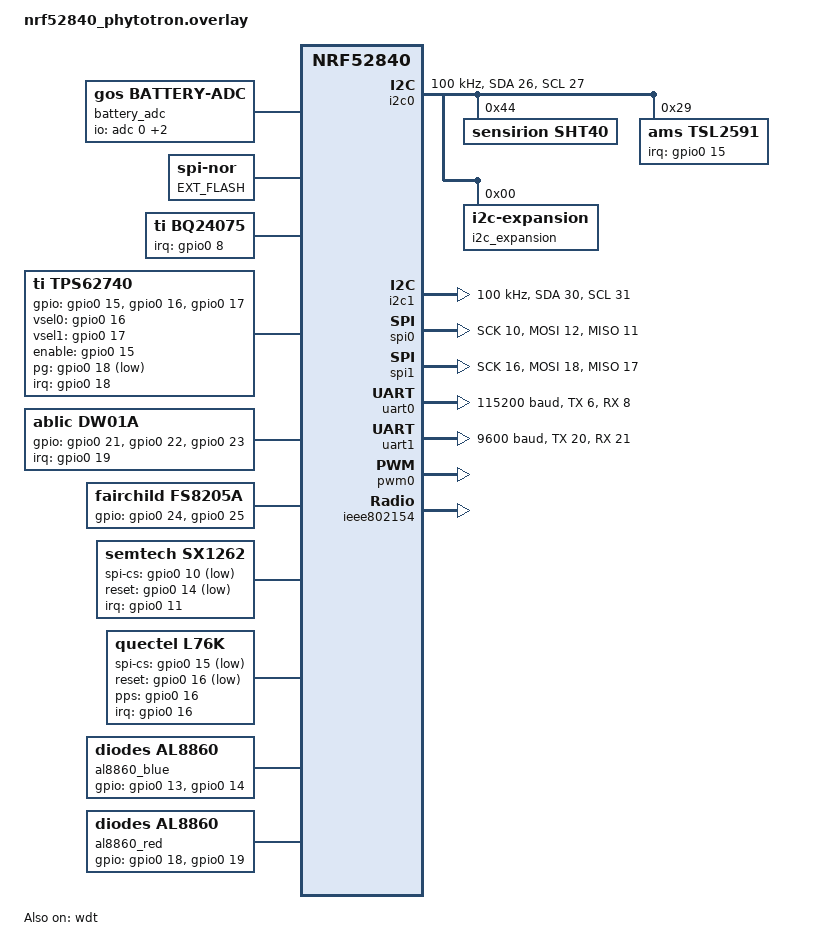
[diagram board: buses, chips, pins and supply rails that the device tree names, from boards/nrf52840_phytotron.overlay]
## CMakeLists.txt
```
cmake_minimum_required(VERSION 3.20.0)

# west build -b raytac_mdbt50q_db_40/nrf52840
# boards/raytac_mdbt50q_db_40_nrf52840.overlay is applied automatically for that board.
# Thread network key, kept out of git (see credentials.conf.example)
if(EXISTS ${CMAKE_CURRENT_LIST_DIR}/credentials.conf)
  list(APPEND EXTRA_CONF_FILE ${CMAKE_CURRENT_LIST_DIR}/credentials.conf)
endif()

find_package(Zephyr REQUIRED HINTS $ENV{ZEPHYR_BASE})
project(gos_sensor_node VERSION 3.2.0)

target_sources(app PRIVATE src/main.c src/uplink.c src/downlink.c src/packet.c)
target_include_directories(app PRIVATE include)
```

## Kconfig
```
menu "G.O.S. sensor node"

config GOS_NODE_INDEX
	int "Node index (phytotron position)"
	range 1 40
	default 1
	help
	  Sent in byte 1 of every research packet. Give each node its own value.

config GOS_UPLINK_PEER_ADDR
	string "IPv6 address the uplink is sent to"
	default "ff03::1"
	help
	  Default is the realm-local all-nodes multicast address, which reaches
	  every Thread device including the border router, so no gateway address
	  has to be known. Set a unicast address to send to one host only.

config GOS_UPLINK_PEER_PORT
	int "UDP port the uplink is sent to"
	default 5683

config GOS_UPLINK_KEY
	string "Uplink signing key (32 hex digits)"
	default ""
	help
	  128-bit HMAC-SHA256 key unique to this node. Set it in the git-ignored
	  credentials.conf; gateway/tools/provision_node.py generates it and
	  registers it with the gateway. With no valid key the node sends nothing.

config GOS_LED_HOLD_S
	int "Seconds to keep the last LED command without a new one"
	default 900
	help
	  The gateway sends an LED command in its reply to every packet (once a minute).
	  If no valid command arrives for this long (gateway or controller down, node out of
	  range), the node switches the LED board to the fallback levels below.

config GOS_LED_FALLBACK_BLUE
	int "Blue LED level (%) when no command has arrived for GOS_LED_HOLD_S"
	range 0 100
	default 0

config GOS_LED_FALLBACK_RED
	int "Red LED level (%) when no command has arrived for GOS_LED_HOLD_S"
	range 0 100
	default 0

config GOS_PAR_SENSOR
	bool "Quantum (PAR) sensor fitted on J6 (board rev 3.2)"
	default n
	help
	  Read a self-powered quantum sensor on J6 through AIN1 (P0.03) at every sample and
	  send it in the packet. Leave off on rev 3.1 boards and on nodes without a sensor:
	  the packet then reports PAR as not measured (0xFFFF) and the gateway estimates
	  daylight PAR from the lux reading as before.

config GOS_PAR_UMOL_PER_MV
	int "Quantum sensor calibration factor, umol m-2 s-1 per mV"
	depends on GOS_PAR_SENSOR
	range 1 10000
	default 100
	help
	  From the sensor's calibration certificate. Apogee SQ-500-SS nominal: 100
	  (0.01 mV per umol m-2 s-1, 0 to 40 mV). The SAADC reads J6 at gain 4, a 0.15 V
	  full scale, so sensors up to 150 mV fit.

config GOS_UPLINK_URI_PATH
	string "CoAP URI path for the uplink"
	default "telemetry"

endmenu

# Sleepy end device: ask the parent for queued messages every 30 s (the child timeout is
# 240 s). After each packet, uplink.c polls fast for about 2 s so the LED reply arrives
# within a second. A 1 s period would cost 20 to 40 uA; 30 s costs about 1 uA. Set here as a
# default (not in prj.conf) so the router build, which has no poll period, gets no warning.
config OPENTHREAD_POLL_PERIOD
	default 30000

source "Kconfig.zephyr"
```

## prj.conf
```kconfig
# G.O.S. sensor node rev 3.0
#
# The SHT4x, TSL2591 and voltage-divider drivers switch themselves on from the
# devicetree once CONFIG_SENSOR is set, so they are not listed here.

CONFIG_GPIO=y
CONFIG_I2C=y
CONFIG_ADC=y
CONFIG_PWM=y
CONFIG_SENSOR=y
CONFIG_WATCHDOG=y

CONFIG_LOG=y

# Thread: minimal sleepy end device, network values from the rev 2 design.
# The network key comes from credentials.conf (not in git).
CONFIG_NETWORKING=y
CONFIG_NET_L2_OPENTHREAD=y
CONFIG_OPENTHREAD_MTD=y
CONFIG_OPENTHREAD_MTD_SED=y
# Sleepy end device poll period: default set in Kconfig (30 s), see there.
CONFIG_OPENTHREAD_COAP=y
CONFIG_OPENTHREAD_CHANNEL=15
CONFIG_OPENTHREAD_PANID=4660
CONFIG_OPENTHREAD_NETWORK_NAME="GOS_PHYTOTRON"
CONFIG_OPENTHREAD_XPANID="de:ad:00:be:ef:00:ca:fe"
CONFIG_NVS=y

# Power down the TSL2591 between readings (275 uA awake, 2.3 uA asleep)
CONFIG_PM_DEVICE=y
CONFIG_TSL2591_FETCH_WAIT=y
```

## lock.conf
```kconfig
# Field build, locked: blocks all debugger access, so the node's signing key and the Thread
# network key cannot be read out of flash.
#   west build -b raytac_mdbt50q_db_40/nrf52840 -- -DEXTRA_CONF_FILE="low_power.conf;lock.conf"
# Afterwards the only way back in is a full chip erase (nrfjprog --recover), which also
# erases the message-counter epoch: re-provision the node (new key) before reflashing,
# or the gateway rejects its packets as replays. Use only for nodes going into service.
CONFIG_NRF_APPROTECT_LOCK=y
```

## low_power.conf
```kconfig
# Field build: no debug console or logging.
#   west build -b raytac_mdbt50q_db_40/nrf52840 -- -DEXTRA_CONF_FILE=low_power.conf
# The nRF52840 UART receiver keeps the high-frequency clock running while it
# is enabled, which costs far more than the rest of the sleeping board.
# Use the normal build on the bench, this one in the phytotron.
CONFIG_LOG=n
CONFIG_SERIAL=n
CONFIG_CONSOLE=n
CONFIG_UART_CONSOLE=n
```

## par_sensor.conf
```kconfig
# Rev 3.2 boards with a quantum (PAR) sensor on J6. Add to the build:
#   west build ... -- -DEXTRA_CONF_FILE="router.conf;par_sensor.conf"
# and set the calibration factor from the sensor certificate (umol m-2 s-1 per mV).
CONFIG_GOS_PAR_SENSOR=y
CONFIG_GOS_PAR_UMOL_PER_MV=100
```

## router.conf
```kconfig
# Router build: for a node on permanent USB power (a 5 V USB-C adapter; the BQ24074 runs the
# board from USB and keeps the cell charged). The radio stays on, so the node relays for its
# neighbours and the network becomes a real mesh: nodes beyond the border router's range join
# through it. On battery alone a router lasts only days.
#   west build -b raytac_mdbt50q_db_40/nrf52840 -- -DEXTRA_CONF_FILE=router.conf
# Put one router node every 10 to 20 m, or wherever a sleepy node cannot reach the dongle.
CONFIG_OPENTHREAD_MTD=n
CONFIG_OPENTHREAD_MTD_SED=n
CONFIG_OPENTHREAD_FTD=y
```

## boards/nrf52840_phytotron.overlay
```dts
/ {
	chosen {
		zephyr,console = &uart0;
		zephyr,shell-uart = &uart0;
		zephyr,bt-c2h-uart = &uart0;
		zephyr,bt-hci-uart = &uart0;
		zephyr,bt-mon-uart = &uart0;
	};

	aliases {
		led0 = &led_blue;
		led1 = &led_red;
		sw0 = &button_reset;
		sw1 = &button_dfu;
		i2c0 = &i2c0;
		i2c1 = &i2c1;
		spi0 = &spi0;
		spi1 = &spi1;
		uart0 = &uart0;
		uart1 = &uart1;
		pwm0 = &pwm0;
		pwm1 = &pwm1;
		adc0 = &adc;
		ieee802154 = &ieee802154;
	};

	/* Battery ADC Channels */
	adc: adc {
		compatible = "nordic,nrf-saadc";
		status = "okay";
		#address-cells = <1>;
		#size-cells = <0>;

		channel@0 {
			reg = <0>;
			zephyr,gain = "ADC_GAIN_1_6";
			zephyr,reference = "ADC_REF_INTERNAL";
			zephyr,acquisition-time = <ADC_ACQ_TIME(ADC_ACQ_TIME_MICROSECONDS, 3)>;
			zephyr,channel-id = <0>;
			zephyr,input-positive = <28>; /* P0.28 = AIN4 = VBATT_SENSE */
		};

		channel@1 {
			reg = <1>;
			zephyr,gain = "ADC_GAIN_1_6";
			zephyr,reference = "ADC_REF_INTERNAL";
			zephyr,acquisition-time = <ADC_ACQ_TIME(ADC_ACQ_TIME_MICROSECONDS, 3)>;
			zephyr,channel-id = <1>;
			zephyr,input-positive = <30>; /* P0.30 = AIN6 = VBUS_SENSE */
		};

		channel@2 {
			reg = <2>;
			zephyr,gain = "ADC_GAIN_1_6";
			zephyr,reference = "ADC_REF_INTERNAL";
			zephyr,acquisition-time = <ADC_ACQ_TIME(ADC_ACQ_TIME_MICROSECONDS, 3)>;
			zephyr,channel-id = <2>;
			zephyr,input-positive = <31>; /* P0.31 = AIN7 = VSYS_SENSE */
		};
	};

	/* Battery ADC Channels */
	battery_adc: battery_adc {
		compatible = "gos,battery-adc";
		io-channels = <&adc 0>, <&adc 1>, <&adc 2>;
		io-channel-names = "vbatt", "vbus", "vsys";
		status = "okay";
	};

	/* External SPI Flash for LittleFS */
	ext_flash: ext_flash {
		compatible = "jedec,spi-nor";
		reg = <0>;
		spi-max-frequency = <8000000>;
		label = "EXT_FLASH";
		jedec-id = [ef 40 15]; /* W25Q16JV */
		size = <2097152>; /* 2MB */
		has-dpd;
		t-enter-dpd = <10000>;
		t-exit-dpd = <35000>;
		status = "okay";
	};

	/* BQ24075 Charger */
	bq24075: bq24075@6b {
		compatible = "ti,bq24075";
		reg = <0x6b>;
		status = "okay";
		interrupt-parent = <&gpio0>;
		interrupts = <8 IRQ_TYPE_LEVEL_LOW>; /* PGOOD pin */
		ti,charge-current-ma = <742>;
		ti,input-current-limit-ma = <500>;
		ti,precharge-current-ma = <74>;
		ti,termination-current-ma = <74>;
		ti,voltage-regulation-mv = <4200>;
		ti,precharge-voltage-mv = <3000>;
		ti,recharge-threshold-mv = <100>;
		ti,watchdog-timeout-s = <7200>;
		ti,enable-charger;
		ti,enable-watchdog;
	};

	/* TPS62740 Buck Converter */
	tps62740: tps62740@0 {
		compatible = "ti,tps62740";
		reg = <0>;
		status = "okay";
		gpios = <&gpio0 15 GPIO_ACTIVE_HIGH>, /* EN */
		        <&gpio0 16 GPIO_ACTIVE_HIGH>, /* VSEL0 */
		        <&gpio0 17 GPIO_ACTIVE_HIGH>; /* VSEL1 */
		interrupt-parent = <&gpio0>;
		interrupts = <18 IRQ_TYPE_LEVEL_LOW>; /* PG pin */
		ti,vsel0-gpio = <&gpio0 16 GPIO_ACTIVE_HIGH>;
		ti,vsel1-gpio = <&gpio0 17 GPIO_ACTIVE_HIGH>;
		ti,enable-gpio = <&gpio0 15 GPIO_ACTIVE_HIGH>;
		ti,pg-gpio = <&gpio0 18 GPIO_ACTIVE_LOW>;
	};

	/* DW01A Protection IC */
	dw01a: dw01a@0 {
		compatible = "ablic,dw01a";
		status = "okay";
		interrupt-parent = <&gpio0>;
		interrupts = <19 IRQ_TYPE_LEVEL_LOW>, /* OD pin */
		             <20 IRQ_TYPE_LEVEL_LOW>; /* OC pin */
		gpios = <&gpio0 21 GPIO_ACTIVE_HIGH>, /* OD output */
		        <&gpio0 22 GPIO_ACTIVE_HIGH>, /* OC output */
		        <&gpio0 23 GPIO_ACTIVE_HIGH>; /* CS input */
		ablic,ov-threshold-mv = <4250>;
		ablic,uv-threshold-mv = <2400>;
		ablic,oc-threshold-mv = <150>;
		ablic,oc-delay-ms = <100>;
	};

	/* FS8205A Dual N-MOSFET */
	fs8205a: fs8205a@0 {
		compatible = "fairchild,fs8205a";
		status = "okay";
		gpios = <&gpio0 24 GPIO_ACTIVE_HIGH>, /* Q1 gate */
		        <&gpio0 25 GPIO_ACTIVE_HIGH>; /* Q2 gate */
	};

	/* SX1262 LoRa Transceiver */
	sx1262: sx1262@0 {
		compatible = "semtech,sx1262";
		reg = <0>;
		status = "okay";
		spi-max-frequency = <8000000>;
		spi-cpol = <0>;
		spi-cpha = <0>;
		spi-hold-cs-delay = <10>;
		spi-cs-gpios = <&gpio0 10 GPIO_ACTIVE_LOW>; /* NSS */
		interrupt-parent = <&gpio0>;
		interrupts = <11 IRQ_TYPE_LEVEL_HIGH>,  /* BUSY */
		             <12 IRQ_TYPE_LEVEL_HIGH>,  /* DIO1 */
		             <13 IRQ_TYPE_LEVEL_HIGH>,  /* DIO2 */
		             <13 IRQ_TYPE_LEVEL_HIGH>;  /* DIO3 */
		reset-gpios = <&gpio0 14 GPIO_ACTIVE_LOW>; /* NRESET */
		semtech,tx-power = <22>;
		semtech,frequency = <915000000>;
		semtech,spreading-factor = <7>;
		semtech,bandwidth = <125000>;
		semtech,coding-rate = <1>;
		semtech,preamble-length = <8>;
		semtech,tx-power-dbm = <22>;
		semtech,rf-switch = <0>; /* RFO */
	};

	/* L76K GNSS Module */
	l76k: l76k@0 {
		compatible = "quectel,l76k";
		status = "okay";
		reg = <0>;
		spi-max-frequency = <1000000>;
		spi-cpol = <0>;
		spi-cpha = <0>;
		spi-hold-cs-delay = <10>;
		spi-cs-gpios = <&gpio0 15 GPIO_ACTIVE_LOW>;
		interrupt-parent = <&gpio0>;
		interrupts = <16 IRQ_TYPE_LEVEL_HIGH>; /* PPS */
		reset-gpios = <&gpio0 16 GPIO_ACTIVE_LOW>;
		quectel,baudrate = <9600>;
		quectel,pps-gpio = <&gpio0 16 GPIO_ACTIVE_HIGH>;
	};

	/* AL8860 LED Drivers */
	al8860_blue: al8860_blue@0 {
		compatible = "diodes,al8860";
		status = "okay";
		reg = <0>;
		gpios = <&gpio0 13 GPIO_ACTIVE_HIGH>, /* EN/PWM */
		        <&gpio0 14 GPIO_ACTIVE_HIGH>; /* FB */
		diodes,current-ma = <300>;
		diodes,pwm-frequency = <100000>;
		diodes,bootstrap-capacitor = <10>;
	};

	al8860_red: al8860_red@0 {
		compatible = "diodes,al8860";
		status = "okay";
		reg = <0>;
		gpios = <&gpio0 18 GPIO_ACTIVE_HIGH>, /* EN/PWM */
		        <&gpio0 19 GPIO_ACTIVE_HIGH>; /* FB */
		diodes,current-ma = <300>;
		diodes,pwm-frequency = <100000>;
		diodes,bootstrap-capacitor = <10>;
	};

	/* External SPI Flash for LittleFS */
	ext_flash: ext_flash {
		compatible = "jedec,spi-nor";
		reg = <0>;
		spi-max-frequency = <8000000>;
		label = "EXT_FLASH";
		jedec-id = [ef 40 15]; /* W25Q16JV */
		size = <2097152>; /* 2MB */
		has-dpd;
		t-enter-dpd = <10000>;
		t-exit-dpd = <35000>;
		status = "okay";
	};
};

&gpio0 {
	status = "okay";
};

&gpio1 {
	status = "okay";
};

&i2c0 {
	status = "okay";
	clock-frequency = <100000>;
	sda-pin = <26>;
	scl-pin = <27>;

	sht40: sht40@44 {
		compatible = "sensirion,sht40";
		reg = <0x44>;
		status = "okay";
		sensirion,heater = <0>;
	};

	tsl2591: tsl2591@29 {
		compatible = "ams,tsl2591";
		reg = <0x29>;
		status = "okay";
		interrupt-parent = <&gpio0>;
		interrupts = <15 IRQ_TYPE_LEVEL_LOW>; /* INT pin */
		ams,integration-time = <0x00>; /* 100ms */
		ams,gain = <0x10>; /* 25x */
	};

	/* External I2C Expansion Header */
	i2c_expansion: i2c_expansion@0 {
		compatible = "i2c-expansion";
		reg = <0>;
		status = "okay";
	};
};

&i2c1 {
	status = "okay";
	clock-frequency = <100000>;
	sda-pin = <30>;
	scl-pin = <31>;
};

&spi0 {
	status = "okay";
	sck-pin = <10>;
	miso-pin = <11>;
	mosi-pin = <12>;
	cs-gpios = <&gpio0 10 GPIO_ACTIVE_LOW>;
};

&spi1 {
	status = "okay";
	sck-pin = <16>;
	miso-pin = <17>;
	mosi-pin = <18>;
	cs-gpios = <&gpio0 15 GPIO_ACTIVE_LOW>;
};

&uart0 {
	status = "okay";
	current-speed = <115200>;
	tx-pin = <6>;
	rx-pin = <8>;
	rts-pin = <7>;
	cts-pin = <5>;
};

&uart1 {
	status = "okay";
	current-speed = <9600>;
	tx-pin = <20>;
	rx-pin = <21>;
};

&pwm0 {
	status = "okay";
	ch0-pin = <13>; /* PWM_BLUE */
	ch1-pin = <14>; /* PWM_RED */
	ch2-pin = <18>; /* SWDIO */
	ch3-pin = <19>; /* SWCLK */
};

&adc {
	status = "okay";
};

&ieee802154 {
	status = "okay";
};

&pwm0 {
	status = "okay";
	ch0-pin = <13>; /* PWM_BLUE */
	ch1-pin = <14>; /* PWM_RED */
};

&adc {
	status = "okay";
};

&wdt {
	status = "okay";
	timeout = <30000>;
};

&flash0 {
	partitions {
		compatible = "fixed-partitions";
		#address-cells = <1>;
		#size-cells = <1>;

		boot_partition: partition@0 {
			label = "mcuboot";
			reg = <0x00000000 0x00010000>;
			read-only;
		};

		slot0_partition: partition@10000 {
			label = "image-0";
			reg = <0x00010000 0x00060000>;
		};

		slot1_partition: partition@70000 {
			label = "image-1";
			reg = <0x00070000 0x00060000>;
		};

		scratch_partition: partition@d0000 {
			label = "scratch";
			reg = <0x000d0000 0x00010000>;
		};

		storage_partition: partition@e0000 {
			label = "storage";
			reg = <0x000e0000 0x00020000>;
		};
	};
};

&nvs {
	partition = <&storage_partition>;
};
```

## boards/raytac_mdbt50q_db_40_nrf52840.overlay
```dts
/*
 * G.O.S. sensor node rev 3.1 (Raytac MDBT50Q-1MV2, nRF52840).
 *
 * Base board: raytac_mdbt50q_db_40/nrf52840, Raytac's demo board for the same module.
 * This overlay moves or removes everything on that board that does not exist here.
 * Pin map source: ../../HARDWARE.md (generated schematic, rev 3.1).
 *
 *   west build -b raytac_mdbt50q_db_40/nrf52840
 *
 * Zephyr applies this file automatically for that board because of its name.
 *
 * Taken unchanged from the base board:
 *   i2c0      SDA P0.26, SCL P0.27
 *   uicr      P0.18 is the reset pin (SW1, debug header)
 *   reg1      DC/DC mode, inductor is inside the module
 *   usbd      USB device on D+ / D-
 *   flash0    standard nRF52840 partition table
 */

/ {
	aliases {
		/delete-property/ led1;
		/delete-property/ led2;
		/delete-property/ sw1;
		/delete-property/ sw2;
		/delete-property/ sw3;
		pwm-led1 = &pwm_red;
	};

	pwmleds {
		/* J4 pin 3, PWM red, through 100R. Channel 0 (blue) is pwm_led0 below. */
		pwm_red: pwm_led_1 {
			pwms = <&pwm0 1 PWM_MSEC(4) PWM_POLARITY_NORMAL>;
			label = "LED board red channel";
		};
	};

	/* VBAT through 2.2M / 2.2M with 100 nF at the pin (R10, R11, C7) */
	vbatt: vbatt {
		compatible = "voltage-divider";
		io-channels = <&adc 0>;
		output-ohms = <2200000>;
		full-ohms = <(2200000 + 2200000)>;
	};

	/* BQ24074 status outputs. Open drain with 100k pull-ups to 3.3 V on the board. */
	zephyr,user {
		/* rev 3.2: J6 PAR sensor through R24 (1k) and C15 (100 nF) on P0.03 / AIN1 */
		io-channels = <&adc 1>;
		pgood-gpios = <&gpio0 28 GPIO_ACTIVE_LOW>;	/* low = USB power good */
		chg-gpios = <&gpio0 29 GPIO_ACTIVE_LOW>;	/* low = charging */
	};
};

/* Demo-board parts that are not on this board */
/delete-node/ &led1;
/delete-node/ &led2;
/delete-node/ &button1;
/delete-node/ &button2;
/delete-node/ &button3;

/* D2 status LED, P0.17, on when low */
&led0 {
	gpios = <&gpio0 17 GPIO_ACTIVE_LOW>;
	label = "Status LED";
};

/* SW2 user button, P0.24 to GND, no external pull-up */
&button0 {
	gpios = <&gpio0 24 (GPIO_PULL_UP | GPIO_ACTIVE_LOW)>;
	label = "User button";
};

/* J4 pin 2, PWM blue, through 100R. Drive is active high. */
&pwm_led0 {
	pwms = <&pwm0 0 PWM_MSEC(4) PWM_POLARITY_NORMAL>;
	label = "LED board blue channel";
};

&pinctrl {
	/* Debug UART on TP5 / TP6. No RTS or CTS on this board. */
	gos_uart0_default: gos_uart0_default {
		group1 {
			psels = <NRF_PSEL(UART_TX, 0, 6)>;
		};

		group2 {
			psels = <NRF_PSEL(UART_RX, 0, 8)>;
			bias-pull-up;
		};
	};

	gos_uart0_sleep: gos_uart0_sleep {
		group1 {
			psels = <NRF_PSEL(UART_TX, 0, 6)>,
				<NRF_PSEL(UART_RX, 0, 8)>;
			low-power-enable;
		};
	};

	/* Two channels only. P0.15 is the TSL2591 interrupt here, not a PWM output. */
	/*
	 * 250 Hz (4 ms period): the AL8860 dims accurately below about 500 Hz.
	 * High drive keeps the line near 3.3 V against the LED board's 2.2k
	 * pull-down on CTRL (above 2.5 V = full current).
	 */
	gos_pwm0_default: gos_pwm0_default {
		group1 {
			psels = <NRF_PSEL(PWM_OUT0, 0, 13)>,
				<NRF_PSEL(PWM_OUT1, 0, 14)>;
			nordic,drive-mode = <NRF_DRIVE_H0H1>;
		};
	};

	/* Released in sleep: the 100k pull-downs at J4 hold the LED drivers off. */
	gos_pwm0_sleep: gos_pwm0_sleep {
		group1 {
			psels = <NRF_PSEL(PWM_OUT0, 0, 13)>,
				<NRF_PSEL(PWM_OUT1, 0, 14)>;
			low-power-enable;
		};
	};
};

&uart0 {
	pinctrl-0 = <&gos_uart0_default>;
	pinctrl-1 = <&gos_uart0_sleep>;
};

&pwm0 {
	pinctrl-0 = <&gos_pwm0_default>;
	pinctrl-1 = <&gos_pwm0_sleep>;
};

&i2c0 {
	clock-frequency = <100000>;

	sht40: sht4x@44 {
		compatible = "sensirion,sht4x";
		reg = <0x44>;
		repeatability = <2>;	/* high */
	};

	tsl2591: tsl2591@29 {
		compatible = "ams,tsl2591";
		reg = <0x29>;
		/* open drain, 100k pull-up to 3.3 V on the board */
		int-gpios = <&gpio0 15 GPIO_ACTIVE_LOW>;
	};
};

&adc {
	#address-cells = <1>;
	#size-cells = <0>;

	/* VBAT / 2 on P0.02. 0.6 V reference with gain 1/6 gives 3.6 V full scale. */
	channel@0 {
		reg = <0>;
		zephyr,gain = "ADC_GAIN_1_6";
		zephyr,reference = "ADC_REF_INTERNAL";
		zephyr,acquisition-time = <ADC_ACQ_TIME(ADC_ACQ_TIME_MICROSECONDS, 40)>;
		zephyr,input-positive = <NRF_SAADC_AIN0>;
		zephyr,resolution = <12>;
	};

	/* rev 3.2: PAR sensor on P0.03 (AIN1). 0.6 V reference with gain 4 gives 0.15 V full
	 * scale, 37 uV per count; 256x oversampling averages the noise away (about 1 umol m-2 s-1
	 * resolution with an Apogee SQ-500-SS, 0.01 mV per umol m-2 s-1). */
	channel@1 {
		reg = <1>;
		zephyr,gain = "ADC_GAIN_4";
		zephyr,reference = "ADC_REF_INTERNAL";
		zephyr,acquisition-time = <ADC_ACQ_TIME(ADC_ACQ_TIME_MICROSECONDS, 40)>;
		zephyr,input-positive = <NRF_SAADC_AIN1>;
		zephyr,resolution = <12>;
		zephyr,oversampling = <8>;
	};
};

/* Enabled on the demo board, nothing connected here. Their pins are open or reused. */
&uart1 {
	status = "disabled";
};

&spi1 {
	status = "disabled";
};

/* QSPI would claim P0.17 (status LED) and P0.19 to P0.23. No flash chip is fitted. */
&qspi {
	status = "disabled";
};
```

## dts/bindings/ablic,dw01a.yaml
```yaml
description: ABlic DW01A Battery Protection IC
compatible: "ablic,dw01a"
include: [gpio-device.yaml]
properties:
  od-gpios:
    type: phandle-array
    required: true
    description: Over-discharge output
  oc-gpios:
    type: phandle-array
    required: true
    description: Over-current output
  cs-gpios:
    type: phandle-array
    required: true
    description: Current sense input
  vcc-gpios:
    type: phandle-array
    required: true
    description: VCC monitor input
  gnd-gpios:
    type: phandle-array
    description: Ground reference
  ov-threshold-mv:
    type: int
    default: 4250
    description: Over-voltage threshold in mV
  uv-threshold-mv:
    type: int
    default: 2400
    description: Under-voltage threshold in mV
  oc-threshold-mv:
    type: int
    default: 150
    description: Over-current threshold in mV
  oc-delay-ms:
    type: int
    default: 100
    description: Over-current delay in ms
```

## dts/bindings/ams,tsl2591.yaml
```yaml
description: AMS TSL2591 Light Sensor
compatible: "ams,tsl2591"
include: [i2c-device.yaml]
properties:
  reg:
    type: int
    required: true
    description: I2C address
  status:
    type: string
    default: "okay"
    description: Device status
```

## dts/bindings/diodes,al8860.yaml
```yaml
description: Diodes AL8860 LED Driver
compatible: "diodes,al8860"
include: [pwm-device.yaml]
properties:
  pwms:
    type: phandle-array
    required: true
    description: PWM control input
  fb-gpios:
    type: phandle-array
    description: Feedback pin
  en-gpios:
    type: phandle-array
    description: Enable pin
  current-ma:
    type: int
    required: true
    description: LED current in mA
  pwm-frequency:
    type: int
    default: 100000
    description: PWM frequency in Hz
```

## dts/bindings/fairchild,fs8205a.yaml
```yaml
description: Fairchild FS8205A Dual N-MOSFET
compatible: "fairchild,fs8205a"
include: [gpio-device.yaml]
properties:
  gate1-gpios:
    type: phandle-array
    required: true
    description: Gate 1 control
  gate2-gpios:
    type: phandle-array
    required: true
    description: Gate 2 control
```

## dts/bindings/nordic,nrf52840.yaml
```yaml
description: Nordic nRF52840 MCU
compatible: "nordic,nrf52840"
include: [base.yaml]
properties:
  reg:
    type: array
    required: true
    description: Register address space
  interrupts:
    type: array
    required: true
    description: Interrupts
  clocks:
    type: phandle-array
    required: true
    description: Clock sources
  clock-names:
    type: string-array
    required: true
    description: Clock names
  status:
    type: string
    default: "okay"
    description: Device status
```

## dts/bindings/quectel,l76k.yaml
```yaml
description: Quectel L76K GNSS Module
compatible: "quectel,l76k"
include: [uart-device.yaml]
properties:
  uart:
    type: phandle
    required: true
    description: UART interface
  pps-gpios:
    type: phandle-array
    description: PPS output pin
  current-speed:
    type: int
    default: 9600
    description: Baud rate
```

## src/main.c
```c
/*
 * G.O.S. sensor node rev 3.2 application (runs on rev 3.1 boards too).
 *
 * Every SAMPLE_PERIOD_S: read SHT40, TSL2591, battery voltage, charger status
 * and (rev 3.2, CONFIG_GOS_PAR_SENSOR) the quantum sensor on J6, log them, flash the status LED. The two PWM channels to the LED
 * driver board start at 0 %.
 *
 * After each sample a signed PACKET_V5 research packet goes out over
 * Thread (src/uplink.c).
 *
 * Between samples all threads sleep, so Zephyr idles the CPU in System ON
 * sleep. The light sensor is powered only while it is read. For a field
 * build without the debug console, add -DEXTRA_CONF_FILE=low_power.conf.
 */
#include <zephyr/kernel.h>
#include <zephyr/device.h>
#include <zephyr/devicetree.h>
#include <zephyr/drivers/adc.h>
#include <zephyr/drivers/gpio.h>
#include <zephyr/drivers/pwm.h>
#include <zephyr/drivers/sensor.h>
#include <zephyr/drivers/watchdog.h>
#include <zephyr/logging/log.h>
#include <zephyr/pm/device.h>
#include <zephyr/sys/util.h>

#include <stdlib.h>

#include "downlink.h"
#include "gos_main.h"
#include "uplink.h"

LOG_MODULE_REGISTER(gos_main, LOG_LEVEL_INF);

#define SAMPLE_PERIOD_S   60
#define WDT_TIMEOUT_MS    30000
#define WDT_FEED_PERIOD_S 10
#define BATTERY_LOW_MV    3300

BUILD_ASSERT(WDT_FEED_PERIOD_S * 1000 < WDT_TIMEOUT_MS, "watchdog would expire between feeds");

#define USER_NODE DT_PATH(zephyr_user)

static const struct device *const sht40 = DEVICE_DT_GET(DT_NODELABEL(sht40));
static const struct device *const tsl2591 = DEVICE_DT_GET(DT_NODELABEL(tsl2591));
static const struct device *const vbatt = DEVICE_DT_GET(DT_NODELABEL(vbatt));
static const struct device *const wdt = DEVICE_DT_GET(DT_ALIAS(watchdog0));

static const struct gpio_dt_spec pgood = GPIO_DT_SPEC_GET(USER_NODE, pgood_gpios);
static const struct gpio_dt_spec chg = GPIO_DT_SPEC_GET(USER_NODE, chg_gpios);
static const struct gpio_dt_spec status_led = GPIO_DT_SPEC_GET(DT_ALIAS(led0), gpios);

static const struct pwm_dt_spec pwm_blue = PWM_DT_SPEC_GET(DT_ALIAS(pwm_led0));
static const struct pwm_dt_spec pwm_red = PWM_DT_SPEC_GET(DT_ALIAS(pwm_led1));

#ifdef CONFIG_GOS_PAR_SENSOR
static const struct adc_dt_spec par_adc = ADC_DT_SPEC_GET_BY_IDX(USER_NODE, 0);
#endif

static int wdt_channel = -1;

static int to_milli(const struct sensor_value *v)
{
	return v->val1 * 1000 + v->val2 / 1000;
}

static int read_climate(struct gos_sensor_data *d)
{
	struct sensor_value temp, rh;
	int err;

	if (!device_is_ready(sht40)) {
		return -ENODEV;
	}
	err = sensor_sample_fetch(sht40);
	if (err) {
		return err;
	}
	err = sensor_channel_get(sht40, SENSOR_CHAN_AMBIENT_TEMP, &temp);
	if (err) {
		return err;
	}
	err = sensor_channel_get(sht40, SENSOR_CHAN_HUMIDITY, &rh);
	if (err) {
		return err;
	}
	d->temp_mc = to_milli(&temp);
	d->humidity_mpct = to_milli(&rh);
	return 0;
}

static int read_light(struct gos_sensor_data *d)
{
	struct sensor_value lux;
	int err;

	if (!device_is_ready(tsl2591)) {
		return -ENODEV;
	}
	/*
	 * The TSL2591 draws 275 uA awake and 2.3 uA asleep, so it is powered
	 * up only for the reading. TSL2591_FETCH_WAIT makes the fetch wait
	 * for one full integration after power-up.
	 */
	err = pm_device_action_run(tsl2591, PM_DEVICE_ACTION_RESUME);
	if (err && err != -EALREADY) {
		return err;
	}
	/*
	 * The Zephyr TSL2591 driver reports lux only on SENSOR_CHAN_ALL.
	 * SENSOR_CHAN_LIGHT is the raw visible channel, a relative value.
	 */
	err = sensor_sample_fetch_chan(tsl2591, SENSOR_CHAN_ALL);
	if (!err) {
		err = sensor_channel_get(tsl2591, SENSOR_CHAN_ALL, &lux);
	}
	if (!err) {
		d->light_lux = lux.val1;
	}
	(void)pm_device_action_run(tsl2591, PM_DEVICE_ACTION_SUSPEND);
	return err;
}

static int read_battery(struct gos_sensor_data *d)
{
	struct sensor_value volts;
	int err;

	if (!device_is_ready(vbatt)) {
		return -ENODEV;
	}
	err = sensor_sample_fetch(vbatt);
	if (err) {
		return err;
	}
	err = sensor_channel_get(vbatt, SENSOR_CHAN_VOLTAGE, &volts);
	if (err) {
		return err;
	}
	d->battery_mv = to_milli(&volts);
	return 0;
}

#ifdef CONFIG_GOS_PAR_SENSOR
/* Quantum sensor on J6 (rev 3.2). Gain 4 with the 0.6 V reference: 0.15 V over 4096 counts. */
#define PAR_FULL_SCALE_UV 150000

static int gos_par_from_raw(int raw)
{
	int64_t uv;

	if (raw < 0) {
		raw = 0;        /* offset noise around 0 V in the dark */
	}
	uv = (int64_t)raw * PAR_FULL_SCALE_UV / 4096;
	return (int)(uv * CONFIG_GOS_PAR_UMOL_PER_MV / 1000);
}

static int read_par(struct gos_sensor_data *d)
{
	static bool setup;
	int16_t raw;
	struct adc_sequence seq = { .buffer = &raw, .buffer_size = sizeof(raw) };
	int err;

	if (!adc_is_ready_dt(&par_adc)) {
		return -ENODEV;
	}
	if (!setup) {
		err = adc_channel_setup_dt(&par_adc);
		if (err) {
			return err;
		}
		setup = true;
	}
	err = adc_sequence_init_dt(&par_adc, &seq);
	if (!err) {
		err = adc_read_dt(&par_adc, &seq);
	}
	if (!err) {
		d->par_umol = gos_par_from_raw(raw);
	}
	return err;
}
#endif

static int read_charger(struct gos_sensor_data *d)
{
	int usb = gpio_pin_get_dt(&pgood);
	int charging = gpio_pin_get_dt(&chg);

	if (usb < 0) {
		return usb;
	}
	if (charging < 0) {
		return charging;
	}
	d->usb_power = usb > 0;
	d->charging = charging > 0;
	return 0;
}

static void sample_all(struct gos_sensor_data *d)
{
	static const struct {
		const char *name;
		int (*read)(struct gos_sensor_data *d);
		uint8_t flag;
	} sources[] = {
		{ "SHT40", read_climate, GOS_VALID_CLIMATE },
		{ "TSL2591", read_light, GOS_VALID_LIGHT },
		{ "battery", read_battery, GOS_VALID_BATTERY },
		{ "charger", read_charger, GOS_VALID_CHARGER },
#ifdef CONFIG_GOS_PAR_SENSOR
		{ "PAR", read_par, GOS_VALID_PAR },
#endif
	};

	*d = (struct gos_sensor_data){ .uptime_ms = k_uptime_get() };

	for (size_t i = 0; i < ARRAY_SIZE(sources); i++) {
		int err = sources[i].read(d);

		if (err) {
			LOG_WRN("%s read failed: %d", sources[i].name, err);
		} else {
			d->valid |= sources[i].flag;
		}
	}
}

static void report(const struct gos_sensor_data *d)
{
	if (d->valid & GOS_VALID_CLIMATE) {
		LOG_INF("temp %s%d.%03d C, humidity %d.%03d %%", d->temp_mc < 0 ? "-" : "",
			abs(d->temp_mc) / 1000, abs(d->temp_mc) % 1000,
			d->humidity_mpct / 1000, d->humidity_mpct % 1000);
	}
	if (d->valid & GOS_VALID_LIGHT) {
		LOG_INF("light %d lux", d->light_lux);
	}
	if (d->valid & GOS_VALID_BATTERY) {
		LOG_INF("battery %d mV", d->battery_mv);
		if (d->battery_mv < BATTERY_LOW_MV) {
			LOG_WRN("battery low");
		}
	}
	if (d->valid & GOS_VALID_PAR) {
		LOG_INF("PAR %d umol m-2 s-1", d->par_umol);
	}
	if (d->valid & GOS_VALID_CHARGER) {
		LOG_INF("usb power %s, %s", d->usb_power ? "present" : "absent",
			d->charging ? "charging" : "not charging");
	}
}

int gos_set_spectral_mix(uint8_t blue_pct, uint8_t red_pct)
{
	const struct {
		const struct pwm_dt_spec *pwm;
		uint8_t pct;
	} channels[] = {
		{ &pwm_blue, MIN(blue_pct, 100) },
		{ &pwm_red, MIN(red_pct, 100) },
	};

	for (size_t i = 0; i < ARRAY_SIZE(channels); i++) {
		const struct pwm_dt_spec *pwm = channels[i].pwm;
		uint32_t pulse = (uint32_t)(((uint64_t)pwm->period * channels[i].pct) / 100U);
		int err;

		if (!pwm_is_ready_dt(pwm)) {
			return -ENODEV;
		}
		err = pwm_set_pulse_dt(pwm, pulse);
		if (err) {
			return err;
		}
	}
	return 0;
}

static int gpio_init(void)
{
	const struct {
		const struct gpio_dt_spec *spec;
		gpio_flags_t flags;
	} pins[] = {
		{ &pgood, GPIO_INPUT },
		{ &chg, GPIO_INPUT },
		{ &status_led, GPIO_OUTPUT_INACTIVE },
	};

	for (size_t i = 0; i < ARRAY_SIZE(pins); i++) {
		int err;

		if (!gpio_is_ready_dt(pins[i].spec)) {
			return -ENODEV;
		}
		err = gpio_pin_configure_dt(pins[i].spec, pins[i].flags);
		if (err) {
			return err;
		}
	}
	return 0;
}

static int watchdog_start(void)
{
	const struct wdt_timeout_cfg cfg = {
		.flags = WDT_FLAG_RESET_SOC,
		.window.min = 0U,
		.window.max = WDT_TIMEOUT_MS,
	};
	int channel;
	int err;

	if (!device_is_ready(wdt)) {
		return -ENODEV;
	}
	channel = wdt_install_timeout(wdt, &cfg);
	if (channel < 0) {
		return channel;
	}
	err = wdt_setup(wdt, WDT_OPT_PAUSE_HALTED_BY_DBG);
	if (err) {
		return err;
	}
	wdt_channel = channel;
	return 0;
}

/* No valid LED command for CONFIG_GOS_LED_HOLD_S (gateway, controller or radio down):
 * go to the fallback levels instead of holding a stale setting forever. */
static void led_hold_check(void)
{
	static bool fallback;
	int64_t last = gos_downlink_last_command_ms();
	int64_t now = k_uptime_get();
	bool expired = (last < 0) ? (now > (int64_t)CONFIG_GOS_LED_HOLD_S * 1000)
				  : (now - last > (int64_t)CONFIG_GOS_LED_HOLD_S * 1000);

	if (expired && !fallback) {
		LOG_WRN("no LED command for %d s: fallback levels", CONFIG_GOS_LED_HOLD_S);
		(void)gos_set_spectral_mix(CONFIG_GOS_LED_FALLBACK_BLUE, CONFIG_GOS_LED_FALLBACK_RED);
	}
	fallback = expired;
}

int main(void)
{
	struct gos_sensor_data data;
	int err;

	LOG_INF("G.O.S. sensor node rev 3.2 firmware");

	err = gpio_init();
	if (err) {
		LOG_ERR("GPIO init failed: %d", err);
	}
	err = gos_set_spectral_mix(0, 0);
	if (err) {
		LOG_ERR("LED board PWM init failed: %d", err);
	}
	if (device_is_ready(tsl2591)) {
		/* the driver powers the sensor on at boot; keep it off until needed */
		(void)pm_device_action_run(tsl2591, PM_DEVICE_ACTION_SUSPEND);
	}
	err = watchdog_start();
	if (err) {
		LOG_ERR("watchdog not started: %d", err);
	}
	err = gos_uplink_init();
	if (err) {
		LOG_ERR("uplink not started: %d; readings will be logged only", err);
	}
	gos_uplink_log_identity();

	while (1) {
		gpio_pin_set_dt(&status_led, 1);
		sample_all(&data);
		report(&data);
		err = gos_uplink_send(&data);
		if (err == -ENOTCONN) {
			LOG_INF("not attached to Thread yet, sample not sent");
		} else if (err && err != -EACCES) {
			LOG_WRN("uplink failed: %d", err);
		}
		gpio_pin_set_dt(&status_led, 0);
		led_hold_check();

		for (int waited = 0; waited < SAMPLE_PERIOD_S; waited += WDT_FEED_PERIOD_S) {
			if (wdt_channel >= 0) {
				wdt_feed(wdt, wdt_channel);
			}
			k_sleep(K_SECONDS(WDT_FEED_PERIOD_S));
		}
	}
	return 0;
}
```

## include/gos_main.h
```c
#ifndef GOS_MAIN_H
#define GOS_MAIN_H

#include <stdbool.h>
#include <stdint.h>

#include <zephyr/sys/util.h>

#ifdef __cplusplus
extern "C" {
#endif

/* Bits of gos_sensor_data.valid: set when that reading succeeded */
#define GOS_VALID_CLIMATE BIT(0)
#define GOS_VALID_LIGHT   BIT(1)
#define GOS_VALID_BATTERY BIT(2)
#define GOS_VALID_CHARGER BIT(3)
#define GOS_VALID_PAR     BIT(4)   /* rev 3.2 PAR input (CONFIG_GOS_PAR_SENSOR) */

struct gos_sensor_data {
	int temp_mc;        /* air temperature, 0.001 degC */
	int humidity_mpct;  /* relative humidity, 0.001 % */
	int light_lux;      /* TSL2591 combined reading, lux */
	int battery_mv;     /* cell voltage at VBAT, mV */
	int par_umol;       /* PAR at J6, umol m-2 s-1 (rev 3.2, quantum sensor) */
	bool usb_power;     /* charger reports good USB power */
	bool charging;      /* charger reports charge in progress */
	uint8_t valid;      /* GOS_VALID_* */
	int64_t uptime_ms;
};

/* Set the two LED-board PWM channels, 0 to 100 % each. */
int gos_set_spectral_mix(uint8_t blue_pct, uint8_t red_pct);

#ifdef __cplusplus
}
#endif

#endif /* GOS_MAIN_H */
```

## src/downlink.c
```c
/*
 * LED command (downlink) checks. The gateway answers each uplink packet with a CoAP 2.04
 * whose payload is a signed LED command:
 *
 *   offset  size  field
 *   0x00    1     0xC1 (LED command, version 1)
 *   0x01    1     blue level, 0..100 %
 *   0x02    1     red level, 0..100 %
 *   0x03    4     counter of the uplink packet this answers (u32 LE)
 *   0x07    16    first 16 bytes of HMAC-SHA256(node key, bytes 0x00..0x06)
 *
 * The caller (uplink.c, which holds the key) computes the expected tag over the first
 * GOS_LED_CMD_BODY_LEN bytes; this file only checks the fields, so it can be tested on a PC.
 * Binding the command to the counter just sent means an old command cannot be replayed and
 * a forged one has no valid tag.
 */
#include <errno.h>
#include <stddef.h>
#include <stdint.h>

#include "downlink.h"

static uint32_t get_le32(const uint8_t *p)
{
	return (uint32_t)p[0] | ((uint32_t)p[1] << 8) | ((uint32_t)p[2] << 16) | ((uint32_t)p[3] << 24);
}

int gos_led_command_parse(const uint8_t *cmd, size_t len, uint32_t expected_counter,
			  const uint8_t expected_tag[GOS_LED_CMD_TAG_LEN], struct gos_led_cmd *out)
{
	uint8_t diff = 0;

	if (cmd == NULL || len != GOS_LED_CMD_LEN || cmd[0] != GOS_LED_CMD_VERSION) {
		return -EINVAL;
	}
	/* constant-time tag comparison */
	for (size_t i = 0; i < GOS_LED_CMD_TAG_LEN; i++) {
		diff |= cmd[GOS_LED_CMD_BODY_LEN + i] ^ expected_tag[i];
	}
	if (diff != 0) {
		return -EACCES;
	}
	if (get_le32(&cmd[3]) != expected_counter) {
		return -ESTALE;
	}
	if (cmd[1] > 100 || cmd[2] > 100) {
		return -ERANGE;
	}
	out->blue_pct = cmd[1];
	out->red_pct = cmd[2];
	return 0;
}
```

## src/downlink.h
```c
#ifndef GOS_DOWNLINK_H
#define GOS_DOWNLINK_H

#include <errno.h>
#include <stddef.h>
#include <stdint.h>

#ifndef ESTALE /* host builds (MinGW) only; Zephyr defines it */
#define ESTALE 116
#endif

#define GOS_LED_CMD_VERSION  0xC1
#define GOS_LED_CMD_BODY_LEN 7
#define GOS_LED_CMD_TAG_LEN  16
#define GOS_LED_CMD_LEN      (GOS_LED_CMD_BODY_LEN + GOS_LED_CMD_TAG_LEN)

struct gos_led_cmd {
	uint8_t blue_pct;
	uint8_t red_pct;
};

/*
 * Check a received LED command. `expected_tag` is HMAC-SHA256(node key, cmd[0..6]),
 * truncated to 16 bytes, computed by the caller. Returns 0 and fills `out` if the command
 * is valid; -EINVAL (wrong length or version), -EACCES (bad tag), -ESTALE (answers another
 * packet) or -ERANGE (level above 100 %) otherwise.
 */
int gos_led_command_parse(const uint8_t *cmd, size_t len, uint32_t expected_counter,
			  const uint8_t expected_tag[GOS_LED_CMD_TAG_LEN], struct gos_led_cmd *out);

/* Uptime (ms) of the last valid LED command, or -1 if none since boot. */
int64_t gos_downlink_last_command_ms(void);

#endif /* GOS_DOWNLINK_H */
```

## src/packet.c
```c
/*
 * PACKET_V5 body builder (layout in src/uplink.c). No Zephyr calls: also built on a PC by
 * tests/host/test_packet.c.
 */
#include <math.h>
#include <string.h>

#include "packet.h"

static void put_le16(uint16_t v, uint8_t *dst)
{
	dst[0] = (uint8_t)v;
	dst[1] = (uint8_t)(v >> 8);
}

static void put_le32(uint32_t v, uint8_t *dst)
{
	put_le16((uint16_t)v, dst);
	put_le16((uint16_t)(v >> 16), dst + 2);
}

static void put_float(float v, uint8_t *dst)
{
	uint32_t bits;

	memcpy(&bits, &v, sizeof(bits));
	put_le32(bits, dst);
}

static uint16_t clamp_u16(int v)
{
	if (v < 0) {
		return 0;
	}
	return v >= (int)GOS_U16_INVALID ? (uint16_t)(GOS_U16_INVALID - 1U) : (uint16_t)v;
}

void gos_packet_build_body(uint8_t body[GOS_PACKET_BODY_LEN], const uint8_t eui[8], uint8_t node_index,
			   const struct gos_sensor_data *d, uint32_t counter)
{
	int climate = (d->valid & GOS_VALID_CLIMATE) != 0;

	body[0] = GOS_PACKET_VERSION;
	body[1] = node_index;
	for (int i = 0; i < 8; i++) {          /* EUI-64 as a u64, little-endian */
		body[2 + i] = eui[7 - i];
	}
	put_float(climate ? (float)d->temp_mc / 1000.0f : NAN, &body[10]);
	put_float(climate ? (float)d->humidity_mpct / 1000.0f : NAN, &body[14]);
	put_le16((d->valid & GOS_VALID_LIGHT) ? clamp_u16(d->light_lux) : GOS_U16_INVALID, &body[18]);
	put_le16((d->valid & GOS_VALID_PAR) ? clamp_u16(d->par_umol) : GOS_U16_INVALID, &body[20]);
	put_le16((d->valid & GOS_VALID_BATTERY) ? clamp_u16(d->battery_mv) : GOS_U16_INVALID, &body[22]);
	put_le32(counter, &body[24]);
	/* bit 7: charger state read; bit 0: USB power present; bit 1: charging. The charger
	 * warms the board, so the gateway can flag climate readings taken while charging. */
	body[28] = (d->valid & GOS_VALID_CHARGER)
			   ? (uint8_t)(0x80U | (d->usb_power ? 0x01U : 0U) | (d->charging ? 0x02U : 0U))
			   : 0U;
}
```

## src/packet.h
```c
#ifndef GOS_PACKET_H
#define GOS_PACKET_H

/*
 * Research packet body (PACKET_V5), kept free of Zephyr and OpenThread so the host-side test
 * (tests/host/test_packet.c) builds exactly this code and checks the bytes against the
 * gateway's decoder. Layout: src/uplink.c.
 */
#include <stdint.h>

#include "gos_main.h"

#define GOS_PACKET_VERSION  0x05
#define GOS_PACKET_BODY_LEN 29
#define GOS_PACKET_TAG_LEN  16
#define GOS_PACKET_LEN      (GOS_PACKET_BODY_LEN + GOS_PACKET_TAG_LEN)
#define GOS_U16_INVALID     0xFFFFU

/* Fill bytes 0..GOS_PACKET_BODY_LEN-1. eui: the factory EUI-64, byte 0 most significant. */
void gos_packet_build_body(uint8_t body[GOS_PACKET_BODY_LEN], const uint8_t eui[8], uint8_t node_index,
			   const struct gos_sensor_data *d, uint32_t counter);

#endif /* GOS_PACKET_H */
```

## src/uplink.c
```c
/*
 * Thread / CoAP uplink: sends one signed research packet (PACKET_V5) per sample.
 *
 * Packet, 45 bytes, every field little-endian (V5 = V4 plus the PAR field at 0x14):
 *
 *   offset  size  field
 *   0x00    1     protocol version, 0x05
 *   0x01    1     node index (CONFIG_GOS_NODE_INDEX)
 *   0x02    8     factory EUI-64 as an unsigned integer; byte 0 of the
 *                 EUI-64 is the most significant byte
 *   0x0A    4     temperature, IEEE 754 float, degC   (NaN if the read failed)
 *   0x0E    4     relative humidity, float, %RH       (NaN if the read failed)
 *   0x12    2     light, lux, clamped to 65534        (0xFFFF if the read failed)
 *   0x14    2     PAR, umol m-2 s-1, from the quantum sensor on J6 (rev 3.2)
 *                 (0xFFFF if no sensor is configured or the read failed)
 *   0x16    2     battery, mV                         (0xFFFF if the read failed)
 *   0x18    4     message counter: boot epoch << 16 | sequence. Strictly
 *                 increasing for the life of the node, so the gateway can
 *                 reject replayed packets.
 *   0x1C    1     flags: bit 7 charger state valid, bit 0 USB power present,
 *                 bit 1 charging (the charger warms the board: climate readings
 *                 taken while charging read high)
 *   0x1D    16    tag: first 16 bytes of HMAC-SHA256(node key, bytes 0x00..0x1C)
 *
 * Python decode: struct.unpack("<BBQffHHHIB16s", payload)
 *
 * The node key (CONFIG_GOS_UPLINK_KEY, 32 hex digits) comes from the
 * git-ignored credentials.conf and must match the gateway's key file
 * (gateway/tools/provision_node.py writes both). Without a valid key the
 * node does not send at all.
 *
 * The boot epoch is kept in flash (settings key "gos/epoch") and written once
 * per boot and once every 65536 packets, not once per packet.
 *
 * Sent as a non-confirmable CoAP POST so a sleepy end device does not have
 * to stay awake for an acknowledgement. The gateway's 2.04 reply carries a signed LED
 * command (downlink.c). The parent holds it until this node polls; the normal poll period
 * is 30 s to save power, so after each send the node polls fast (FAST_POLL_DELAYS_MS)
 * until the reply arrives. It is applied only if its tag is valid and it answers the
 * counter just sent.
 */
#include <math.h>
#include <string.h>

#include <zephyr/kernel.h>
#include <zephyr/logging/log.h>
#include <zephyr/settings/settings.h>
#include <zephyr/sys/byteorder.h>
#include <zephyr/sys/util.h>

#include <psa/crypto.h>

#include <openthread.h>
#include <openthread/coap.h>
#include <openthread/link.h>
#include <openthread/message.h>
#include <openthread/thread.h>

#include "downlink.h"
#include "gos_main.h"
#include "packet.h"
#include "uplink.h"

LOG_MODULE_REGISTER(gos_uplink, LOG_LEVEL_INF);

/* body builder and sizes: src/packet.c (also built by tests/host/test_packet.c) */
#define BODY_LEN       GOS_PACKET_BODY_LEN
#define TAG_LEN        GOS_PACKET_TAG_LEN
#define PACKET_LEN     GOS_PACKET_LEN
#define KEY_LEN        16
#define U16_INVALID    0xFFFFU
#define EPOCH_KEY      "gos/epoch"
#define EPOCH_MAX      0xFFFFU

static psa_key_id_t key_id;
static bool ready;
static uint32_t epoch;
static uint32_t sequence;
static atomic_t sent_counter;      /* counter of the last packet sent */
static atomic_t has_sent;
static atomic_t last_command_s;     /* uptime in s + 1 of the last valid command, 0 = none */
static atomic_t reply_received;     /* set by the response handler; stops the fast polls */

/* Data requests to the parent after each packet: the reply is usually waiting within
 * 100 to 300 ms. Cumulative from the send: 0.15, 0.4, 0.8, 1.5, 2.5 s. */
static const uint16_t FAST_POLL_DELAYS_MS[] = { 150, 250, 400, 700, 1000 };
static atomic_t fast_poll_index;

static void fast_poll_handler(struct k_work *work);
static K_WORK_DELAYABLE_DEFINE(fast_poll_work, fast_poll_handler);

static void fast_poll_handler(struct k_work *work)
{
	otInstance *ot = openthread_get_default_instance();
	atomic_val_t i;

	ARG_UNUSED(work);
	if (ot == NULL || atomic_get(&reply_received)) {
		return;
	}
	openthread_mutex_lock();
	(void)otLinkSendDataRequest(ot);
	openthread_mutex_unlock();
	i = atomic_inc(&fast_poll_index) + 1;
	if (i < (atomic_val_t)ARRAY_SIZE(FAST_POLL_DELAYS_MS)) {
		k_work_schedule(&fast_poll_work, K_MSEC(FAST_POLL_DELAYS_MS[i]));
	}
}

static int epoch_load(const char *key, size_t len, settings_read_cb read_cb, void *cb_arg, void *param)
{
	ARG_UNUSED(key);
	if (len != sizeof(uint32_t)) {
		return 0;
	}
	return read_cb(cb_arg, param, len) == (ssize_t)len ? 0 : -EIO;
}

static int epoch_advance(void)
{
	if (epoch >= EPOCH_MAX) {
		LOG_ERR("message counter exhausted; re-provision this node");
		return -ENOSPC;
	}
	epoch++;
	sequence = 0;
	return settings_save_one(EPOCH_KEY, &epoch, sizeof(epoch));
}

int gos_uplink_init(void)
{
	static const char key_hex[] = CONFIG_GOS_UPLINK_KEY;
	psa_key_attributes_t attr = PSA_KEY_ATTRIBUTES_INIT;
	uint8_t key[KEY_LEN];
	int err;

	if (strlen(key_hex) != 2 * KEY_LEN || hex2bin(key_hex, 2 * KEY_LEN, key, sizeof(key)) != KEY_LEN) {
		LOG_ERR("CONFIG_GOS_UPLINK_KEY missing or not 32 hex digits: uplink disabled");
		return -EINVAL;
	}

	if (psa_crypto_init() != PSA_SUCCESS) {
		return -EIO;
	}
	psa_set_key_type(&attr, PSA_KEY_TYPE_HMAC);
	psa_set_key_bits(&attr, 8 * KEY_LEN);
	psa_set_key_usage_flags(&attr, PSA_KEY_USAGE_SIGN_MESSAGE);
	psa_set_key_algorithm(&attr, PSA_ALG_HMAC(PSA_ALG_SHA_256));
	err = psa_import_key(&attr, key, sizeof(key), &key_id) == PSA_SUCCESS ? 0 : -EIO;
	memset(key, 0, sizeof(key));
	if (err) {
		return err;
	}

	err = settings_subsys_init();
	if (!err) {
		err = settings_load_subtree_direct(EPOCH_KEY, epoch_load, &epoch);
	}
	if (!err) {
		err = epoch_advance();
	}
	if (err) {
		LOG_ERR("cannot store the message counter (%d): uplink disabled", err);
		return err;
	}

	ready = true;
	LOG_INF("uplink signing ready, counter epoch %u", epoch);
	return 0;
}

static int sign(uint8_t pkt[PACKET_LEN])
{
	uint8_t mac[PSA_HASH_LENGTH(PSA_ALG_SHA_256)];
	size_t mac_len;

	if (psa_mac_compute(key_id, PSA_ALG_HMAC(PSA_ALG_SHA_256), pkt, BODY_LEN,
			    mac, sizeof(mac), &mac_len) != PSA_SUCCESS || mac_len < TAG_LEN) {
		return -EIO;
	}
	memcpy(&pkt[BODY_LEN], mac, TAG_LEN);
	return 0;
}

int64_t gos_downlink_last_command_ms(void)
{
	atomic_val_t v = atomic_get(&last_command_s);

	return v == 0 ? -1 : (int64_t)(v - 1) * 1000;
}

/* Called by OpenThread for the gateway's reply (and with an error when the wait for
 * more replies to the multicast request ends). Runs in the OpenThread thread. */
static void response_handler(void *ctx, otMessage *msg, const otMessageInfo *info, otError result)
{
	uint8_t cmd[GOS_LED_CMD_LEN + 1];
	uint8_t mac[PSA_HASH_LENGTH(PSA_ALG_SHA_256)];
	struct gos_led_cmd led;
	size_t mac_len;
	uint16_t len;
	int err;

	ARG_UNUSED(ctx);
	ARG_UNUSED(info);
	if (result != OT_ERROR_NONE || msg == NULL || otCoapMessageGetCode(msg) != OT_COAP_CODE_CHANGED) {
		return;
	}
	atomic_set(&reply_received, 1);
	len = otMessageRead(msg, otMessageGetOffset(msg), cmd, sizeof(cmd));
	if (len != GOS_LED_CMD_LEN || !atomic_get(&has_sent)) {
		return;
	}
	if (psa_mac_compute(key_id, PSA_ALG_HMAC(PSA_ALG_SHA_256), cmd, GOS_LED_CMD_BODY_LEN,
			    mac, sizeof(mac), &mac_len) != PSA_SUCCESS || mac_len < GOS_LED_CMD_TAG_LEN) {
		return;
	}
	err = gos_led_command_parse(cmd, len, (uint32_t)atomic_get(&sent_counter), mac, &led);
	if (err) {
		LOG_WRN("LED command rejected: %d", err);
		return;
	}
	err = gos_set_spectral_mix(led.blue_pct, led.red_pct);
	if (err) {
		LOG_ERR("LED board PWM failed: %d", err);
		return;
	}
	atomic_set(&last_command_s, (atomic_val_t)(k_uptime_get() / 1000 + 1));
	LOG_INF("LED blue %u %%, red %u %%", led.blue_pct, led.red_pct);
}

int gos_uplink_send(const struct gos_sensor_data *d)
{
	otInstance *ot = openthread_get_default_instance();
	uint8_t pkt[PACKET_LEN];
	otMessageInfo info;
	otExtAddress eui;
	otMessage *msg;
	otError err;
	int ret = 0;

	if (!ready) {
		return -EACCES;
	}
	if (ot == NULL) {
		return -ENODEV;
	}

	openthread_mutex_lock();

	if (otThreadGetDeviceRole(ot) < OT_DEVICE_ROLE_CHILD) {
		ret = -ENOTCONN;
		goto out;
	}

	if (sequence > 0xFFFFU) {
		ret = epoch_advance();
		if (ret) {
			ready = false;
			goto out;
		}
	}

	otLinkGetFactoryAssignedIeeeEui64(ot, &eui);
	gos_packet_build_body(pkt, eui.m8, CONFIG_GOS_NODE_INDEX, d, (epoch << 16) | sequence);
	atomic_set(&sent_counter, (atomic_val_t)((epoch << 16) | sequence));
	atomic_set(&has_sent, 1);
	sequence++; /* never reuse a counter, even if the send below fails */
	ret = sign(pkt);
	if (ret) {
		goto out;
	}

	memset(&info, 0, sizeof(info));
	if (otIp6AddressFromString(CONFIG_GOS_UPLINK_PEER_ADDR, &info.mPeerAddr) != OT_ERROR_NONE) {
		ret = -EINVAL;
		goto out;
	}
	info.mPeerPort = CONFIG_GOS_UPLINK_PEER_PORT;

	msg = otCoapNewMessage(ot, NULL);
	if (msg == NULL) {
		ret = -ENOMEM;
		goto out;
	}

	otCoapMessageInit(msg, OT_COAP_TYPE_NON_CONFIRMABLE, OT_COAP_CODE_POST);
	otCoapMessageGenerateToken(msg, OT_COAP_DEFAULT_TOKEN_LENGTH);
	err = otCoapMessageAppendUriPathOptions(msg, CONFIG_GOS_UPLINK_URI_PATH);
	if (err == OT_ERROR_NONE) {
		err = otCoapMessageSetPayloadMarker(msg);
	}
	if (err == OT_ERROR_NONE) {
		err = otMessageAppend(msg, pkt, sizeof(pkt));
	}
	if (err == OT_ERROR_NONE) {
		err = otCoapSendRequest(ot, msg, &info, response_handler, NULL);
	}
	if (err != OT_ERROR_NONE) {
		otMessageFree(msg);
		LOG_WRN("CoAP send failed: %s", otThreadErrorToString(err));
		ret = -EIO;
	} else {
		atomic_set(&reply_received, 0);
		atomic_set(&fast_poll_index, 0);
		k_work_reschedule(&fast_poll_work, K_MSEC(FAST_POLL_DELAYS_MS[0]));
	}

out:
	openthread_mutex_unlock();
	return ret;
}

void gos_uplink_log_identity(void)
{
	otInstance *ot = openthread_get_default_instance();
	otExtAddress eui;

	if (ot == NULL) {
		return;
	}
	openthread_mutex_lock();
	otLinkGetFactoryAssignedIeeeEui64(ot, &eui);
	openthread_mutex_unlock();
	LOG_INF("node %d, EUI-64 %02X%02X%02X%02X%02X%02X%02X%02X", CONFIG_GOS_NODE_INDEX,
		eui.m8[0], eui.m8[1], eui.m8[2], eui.m8[3], eui.m8[4], eui.m8[5], eui.m8[6], eui.m8[7]);
}
```

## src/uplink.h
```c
#ifndef GOS_UPLINK_H
#define GOS_UPLINK_H

#include "gos_main.h"

/*
 * Load the node key and message counter. Must succeed before
 * gos_uplink_send() sends anything. Returns -EINVAL if no valid key is
 * configured, or another negative errno.
 */
int gos_uplink_init(void);

/*
 * Send one signed sample to the gateway over Thread.
 * Returns 0 when handed to the stack, -ENOTCONN if not attached to a
 * Thread network yet, -EACCES if signing is not set up, or another
 * negative errno on failure.
 */
int gos_uplink_send(const struct gos_sensor_data *d);

/* Log the node index and factory EUI-64, for registering the node. */
void gos_uplink_log_identity(void);

#endif /* GOS_UPLINK_H */
```
